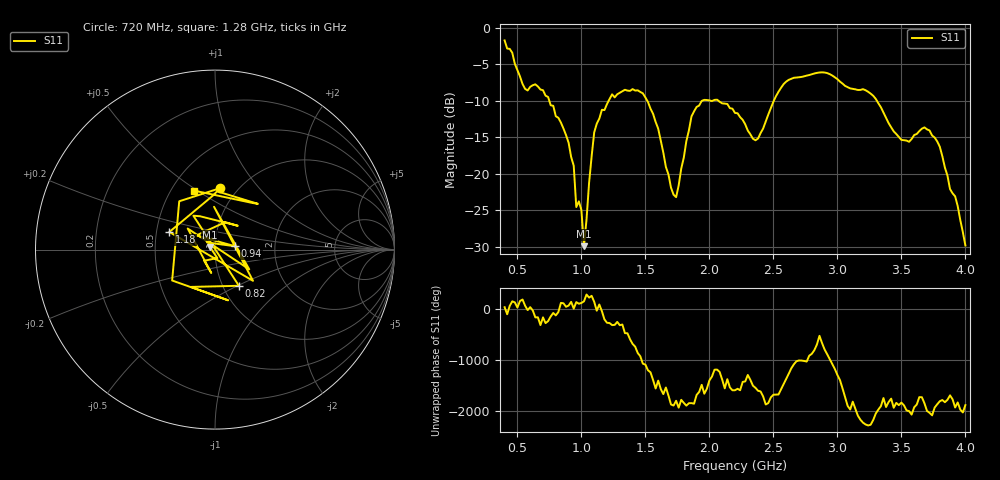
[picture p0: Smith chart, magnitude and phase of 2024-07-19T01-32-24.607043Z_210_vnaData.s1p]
!Created with skrf (http://scikit-rf.org).
# Hz S RI R 50.0
!freq ReS11 ImS11
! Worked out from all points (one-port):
!   181 points, 400 MHz to 4 GHz, reference 50 ohm
!   lowest |S11| = -29.9 dB at 1.02 GHz (marker M1), VSWR 1.07, Z = 47.2 + j1.39 ohm
!   |S11| at or under -10 dB: 748.9 MHz to 1.213 GHz (464.2 MHz wide, 47.3 % of centre); 1.514 GHz to 1.944 GHz (429.4 MHz wide, 24.8 % of centre); 3.308 GHz to end of sweep (the widest 3 of 5)
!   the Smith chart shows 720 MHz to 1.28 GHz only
!   S11 on the Smith chart (normalised r, x): 720 MHz: 0.83, +0.64; 820 MHz: 1.19, -0.51; 940 MHz: 1.25, +0.05; 1.18 GHz: 0.58, +0.12; 1.28 GHz: 0.64, +0.48
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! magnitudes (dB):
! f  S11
! 400 MHz  -1.8
! 560 MHz  -8.4
! 720 MHz  -9.3
! 820 MHz  -12.3
! 860 MHz  -13.8
! 940 MHz  -18.9
! 960 MHz  -24.5
! 1 GHz  -25.0
! 1.02 GHz  -29.9
! 1.1 GHz  -14.3
! 1.18 GHz  -11.3
! 1.28 GHz  -9.1
! 1.3 GHz  -8.9
! 1.48 GHz  -9.0
! 1.6 GHz  -13.8
! 1.72 GHz  -22.9
! 1.76 GHz  -21.6
! 1.86 GHz  -12.1
! 1.9 GHz  -10.9
! 2.2 GHz  -11.7
! 2.36 GHz  -15.4
! 2.66 GHz  -6.9
! 3.1 GHz  -8.3
! 3.28 GHz  -9.3
! 3.56 GHz  -15.6
! 3.68 GHz  -13.7
! 3.78 GHz  -15.6
! 4 GHz  -29.8
